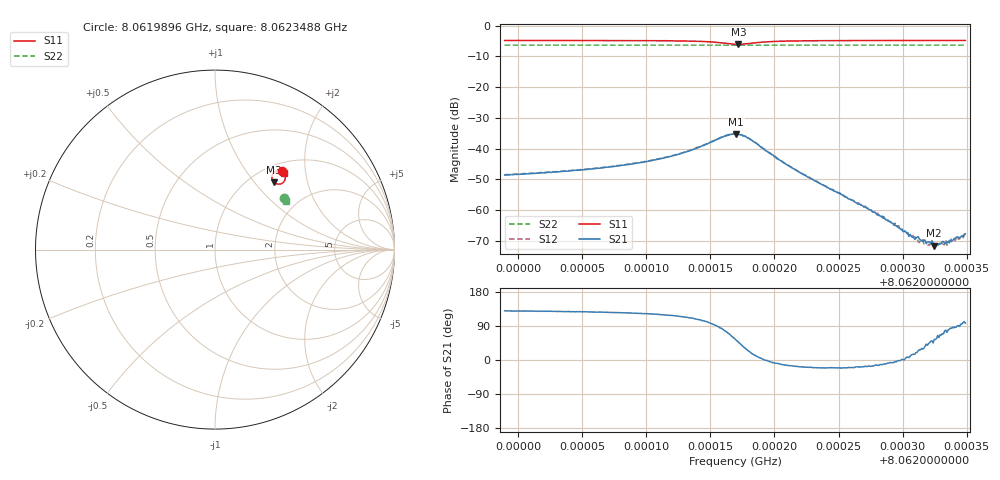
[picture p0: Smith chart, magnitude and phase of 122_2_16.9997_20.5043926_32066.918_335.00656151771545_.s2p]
#  HZ  S  RI  R  50.00
! Rohde & Schwarz Vector Network Analyzer
! Rohde-Schwarz,ZNB20-2Port,1311601062101988,3.16
! Created: UTC 3/20/2024, 10:57:35 PM
! freq[Hz]  re:S11  im:S11  re:S21  im:S21  re:S12  im:S12  re:S22  im:S22
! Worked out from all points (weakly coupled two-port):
!   401 points, 8.0619896 GHz to 8.0623488 GHz, reference 50 ohm
!   highest |S21| = -35.25 dB at 8.0621701 GHz (marker M1); lowest = -71.6 dB at 8.0623246 GHz (marker M2)
!   lowest |S11| = -6.0 dB at 8.0621719 GHz (marker M3), VSWR 2.99, Z = 63.6 + j63.4 ohm
!   |S11| at or under -10 dB: nowhere
!   |S22| runs from -6.4 to -6.3 dB; largest |S21 - S12| = 0.0012
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8.06198964e9  0.3758 0.4358  -0.00238 0.00286  -0.00222 0.00303  0.3867 0.2899
8.0620498e9  0.3815 0.4299  -0.00273 0.0036  -0.00252 0.00378  0.3888 0.2869
8.06210997e9  0.3894 0.4175  -0.00338 0.00583  -0.00306 0.00611  0.3908 0.2835
8.06213152e9  0.3924 0.4058  -0.00342 0.0082  -0.00299 0.00851  0.3913 0.2819
8.06215038e9  0.3876 0.3839  -0.00147 0.0127  -0.000642 0.0129  0.3914 0.2801
8.06216295e9  0.3618 0.3651  0.00464 0.0156  0.00581 0.0156  0.3903 0.2793
8.06216924e9  0.3381 0.3685  0.00987 0.0142  0.0109 0.0137  0.3898 0.2795
8.06217014e9  0.3347 0.3702  0.0106 0.0137  0.0115 0.0131  0.3895 0.2796
8.06217193e9  0.3286 0.3748  0.0117 0.0124  0.0125 0.0118  0.3896 0.2798
8.06218091e9  0.3171 0.4069  0.0133 0.00521  0.0137 0.00423  0.3898 0.281
8.06220336e9  0.3447 0.4388  0.00655 -0.00108  0.00653 -0.0016  0.3921 0.2809
8.06222941e9  0.3625 0.4392  0.00299 -0.00108  0.00296 -0.00127  0.3937 0.2794
8.06227251e9  0.3743 0.4351  0.00101 -0.00031  0.00103 -0.000348  0.3954 0.2769
8.06228958e9  0.377 0.4336  0.000645 -8.99e-05  0.00064 -0.000158  0.3961 0.2761
8.06230843e9  0.3794 0.432  0.000352 9.66e-05  0.000361 4.9e-05  0.3967 0.2752
8.06231113e9  0.3798 0.4318  0.00034 0.000122  0.000344 9.81e-05  0.3967 0.275
8.06231831e9  0.3805 0.4313  0.000216 0.000193  0.000248 0.000155  0.3971 0.2746
8.0623246e9  0.3811 0.4308  0.000153 0.000215  0.000196 0.000208  0.3973 0.2743
8.06233358e9  0.3822 0.4301  5.75e-05 0.000288  0.000105 0.000311  0.3975 0.2739
8.06233807e9  0.3827 0.43  3.28e-05 0.000305  5.97e-05 0.000338  0.3977 0.2738
8.06234256e9  0.3831 0.4295  -2.03e-06 0.000368  2.01e-05 0.000364  0.3979 0.2734
8.06234884e9  0.3835 0.4292  -4.98e-05 0.000409  -3.79e-05 0.00042  0.3982 0.2731
